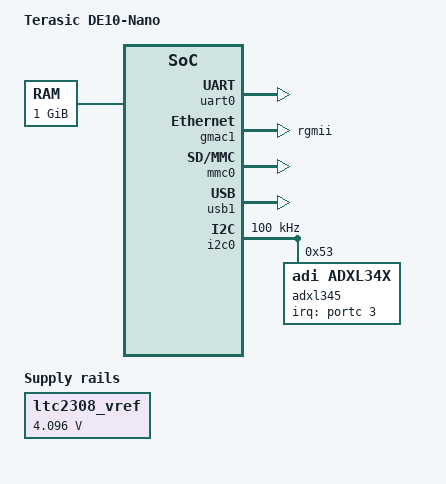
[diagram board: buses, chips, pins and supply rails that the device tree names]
// SPDX-License-Identifier: GPL-2.0+
/*
 * Copyright (C) 2017, Intel Corporation
 *
 * based on socfpga_cyclone5_de0_nano_soc.dts
 */

#include "socfpga_cyclone5.dtsi"
#include <dt-bindings/interrupt-controller/irq.h>
#include <dt-bindings/gpio/gpio.h>

/ {
	model = "Terasic DE10-Nano";
	compatible = "altr,socfpga-cyclone5", "altr,socfpga";

	chosen {
		bootargs = "earlyprintk";
		stdout-path = "serial0:115200n8";
	};

	memory {
		name = "memory";
		device_type = "memory";
		reg = <0x0 0x40000000>;	/* 1GB */
	};

	soc {
		fpga_axi: axi_h2f_lw_bridge@0xff200000 {
			compatible = "simple-bus";
			reg = <0xff200000 0x00200000>;
			#address-cells = <1>;
			#size-cells = <1>;
			ranges = <0x00000000 0xff200000 0x00200000>;
		};
	};

	aliases {
		ethernet0 = &gmac1;
		udc0 = &usb1;
	};

	clocks {
		sys_clk: sys_clk {
			#clock-cells = <0x0>;
			compatible = "fixed-clock";
			clock-frequency = <50000000>;
			clock-output-names = "sys_clk";
		};
	};

	ltc2308_vref: voltage-regulator {
		compatible = "regulator-fixed";
		regulator-name = "fixed-supply";
		regulator-min-microvolt = <4096000>;
		regulator-max-microvolt = <4096000>;
		regulator-always-on;
	};
};

&uart0 {
	status = "okay";
};

&gmac1 {
	status = "okay";
	phy-mode = "rgmii";

	rxd0-skew-ps = <420>;
	rxd1-skew-ps = <420>;
	rxd2-skew-ps = <420>;
	rxd3-skew-ps = <420>;
	txen-skew-ps = <0>;
	txc-skew-ps = <1860>;
	rxdv-skew-ps = <420>;
	rxc-skew-ps = <1680>;
};

&mmc0 {
	status = "okay";
	u-boot,dm-pre-reloc;
};

&usb1 {
	status = "okay";
};

&uart0 {
	clock-frequency = <100000000>;
	u-boot,dm-pre-reloc;
};

&gpio0 {
	status = "okay";
};

&gpio1 {
	status = "okay";
};

&gpio2 {
	status = "okay";
};

&porta {
	bank-name = "porta";
};

&portb {
	bank-name = "portb";
};

&portc {
	bank-name = "portc";
};

&i2c0 {
	status = "okay";
	clock-frequency = <100000>;

	adxl345@53 {
		compatible = "adi,adxl34x";
		reg = <0x53>;
		interrupt-parent = <&portc>;
		interrupts = <3 2>;
	};
};

